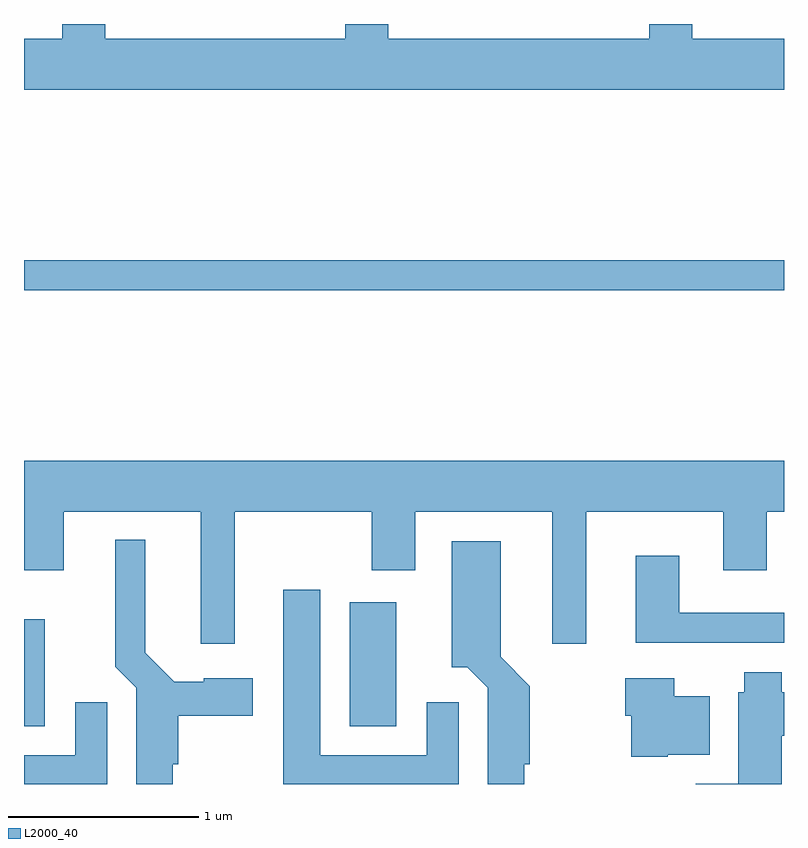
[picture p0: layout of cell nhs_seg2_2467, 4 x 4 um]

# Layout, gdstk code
import gdstk
lib = gdstk.Library(unit=1e-6, precision=1e-09)
def R(c, l, rs):  # rectangles x0, y0, x1, y1
    for r in rs: c.add(gdstk.rectangle(r[:2], r[2:], *l))
def P(c, l, *ps):  # polygons
    for p in ps: c.add(gdstk.Polygon(p, *l))
L2000_40 = (2000, 40)

nhs_seg2_2467 = lib.new_cell('nhs_seg2_2467')
R(nhs_seg2_2467, L2000_40, [(257.611,1016.106,257.719,1016.669), (259.326,1016.106,259.569,1016.759), (257.611,1018.401,261.611,1018.559)])
P(nhs_seg2_2467, L2000_40, [(261.611,1019.724),(261.129,1019.724),(261.129,1019.802),(260.901,1019.802),(260.901,1019.724),(259.529,1019.724),(259.529,1019.802),(259.301,1019.802),(259.301,1019.724),(258.039,1019.724),(258.039,1019.802),(257.811,1019.802),(257.811,1019.724),(257.611,1019.724),(257.611,1019.456),(261.611,1019.456)],
  [(258.719,1017.236),(259.441,1017.236),(259.441,1016.926),(259.669,1016.926),(259.669,1017.236),(260.391,1017.236),(260.391,1016.541),(260.569,1016.541),(260.569,1017.236),(261.291,1017.236),(261.291,1016.926),(261.519,1016.926),(261.519,1017.236),(261.611,1017.236),(261.611,1017.504),(257.611,1017.504),(257.611,1016.926),(257.819,1016.926),(257.819,1017.236),(258.541,1017.236),(258.541,1016.541),(258.719,1016.541)],
  [(258.394,1015.906),(258.424,1015.906),(258.424,1016.161),(258.814,1016.161),(258.814,1016.359),(258.556,1016.359),(258.556,1016.339),(258.402,1016.339),(258.249,1016.492),(258.249,1017.088),(258.091,1017.088),(258.091,1016.419),(258.201,1016.309),(258.201,1015.802),(258.394,1015.802)],
  [(260.244,1015.906),(260.274,1015.906),(260.274,1016.317),(260.119,1016.472),(260.119,1017.079),(259.861,1017.079),(259.861,1016.416),(259.944,1016.416),(260.051,1016.309),(260.051,1015.802),(260.244,1015.802)],
  [(261.611,1016.704),(261.059,1016.704),(261.059,1017.004),(260.831,1017.004),(260.831,1016.546),(261.611,1016.546)],
  [(259.899,1016.233),(259.731,1016.233),(259.731,1015.954),(259.169,1015.954),(259.169,1016.824),(258.976,1016.824),(258.976,1015.802),(259.899,1015.802)],
  [(261.599,1016.056),(261.611,1016.056),(261.611,1016.284),(261.599,1016.284),(261.599,1016.389),(261.401,1016.389),(261.401,1016.284),(261.371,1016.284),(261.371,1015.804),(261.146,1015.804),(261.146,1015.802),(261.599,1015.802)],
  [(261,1015.956),(261.219,1015.956),(261.219,1016.264),(261.034,1016.264),(261.034,1016.359),(260.776,1016.359),(260.776,1016.161),(260.806,1016.161),(260.806,1015.946),(261,1015.946)],
  [(258.049,1016.233),(257.881,1016.233),(257.881,1015.954),(257.611,1015.954),(257.611,1015.802),(258.049,1015.802)])

lib.write_gds('nhs_seg2_2467.gds')
